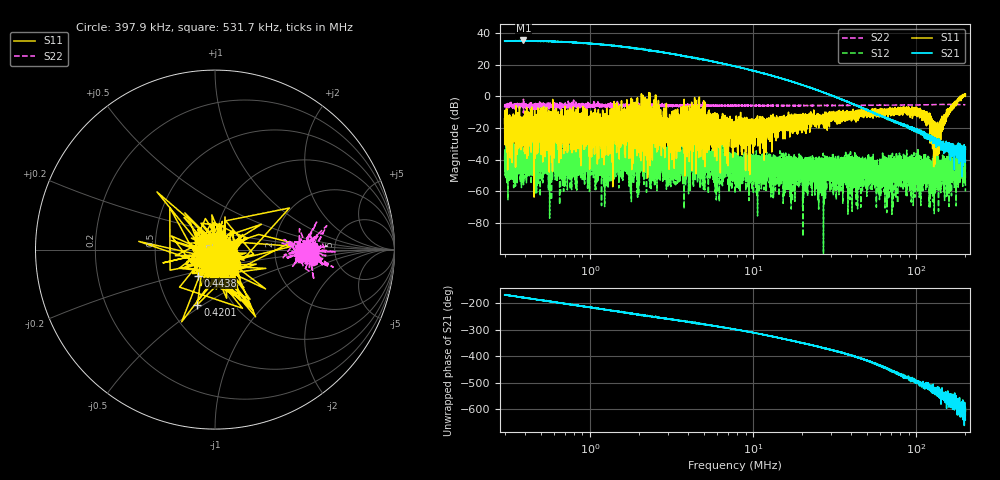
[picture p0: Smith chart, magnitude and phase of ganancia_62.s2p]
# Hz S DB R 50
! CMT, M5065, 19127446, 24.2.4/2
! Date: 11/1/2024 4:52:24 PM
! Data: Format (Calibration Info)
! Freq	S11:dB/Ang(F2)	S21:dB/Ang(F2)	S12:dB/Ang(F2)	S22:dB/Ang(F2)
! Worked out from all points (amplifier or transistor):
!   9000 points, 300 kHz to 200 MHz, reference 50 ohm
!   highest |S21| = 35.3 dB at 391.4 kHz (marker M1)
!   |S21| within 3 dB of that: start of sweep to 1.267 MHz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
!   unconditionally stable (mu >= 1): 5.205 MHz to 186 MHz; 186.2 MHz to 188.8 MHz; 189 MHz to 190.6 MHz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
!   at 886.8 kHz: K = 0.96, MSG = 36.4 dB, |S12| = -39.2 dB
!   at 7.749 MHz: K = 49.45, MAG = 20.2 dB, |S12| = -61.5 dB
!   at 200 MHz: K = -5271.69, MSG = 14.0 dB, |S12| = -60.1 dB
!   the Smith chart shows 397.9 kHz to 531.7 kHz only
!   S11 on the Smith chart (normalised r, x): 397.9 kHz: 1.17, -0.01; 420.1 kHz: 0.69, -0.47; 443.8 kHz: 0.79, -0.24; 531.7 kHz: 0.98, +0.01
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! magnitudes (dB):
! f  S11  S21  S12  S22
! 300 kHz  -17.2  34.9  -41.1  -6.3
! 323.2 kHz  -16.7  34.9  -29.8  -4.1
! 391.4 kHz  -30.7  35.3  -53.8  -1.8
! 397.9 kHz  -21.9  34.9  -33.7  -5.2
! 420.1 kHz  -9.9  35.0  -43.9  -5.8
! 443.8 kHz  -15.2  35.0  -44.8  -5.9
! 531.7 kHz  -38.2  34.8  -37.8  -6.5
! 783.7 kHz  -9.8  33.8  -38.1  -5.3
! 836.4 kHz  -18.8  34.0  -45.7  -6.2
! 886.8 kHz  -22.5  33.7  -39.2  -5.9
! 1.257 MHz  -24.9  32.5  -46.0  -5.6
! 2.621 MHz  -25.6  28.2  -38.0  -6.0
! 5.234 MHz  -20.7  22.7  -42.9  -6.0
! 7.749 MHz  -26.2  18.9  -61.5  -5.8
! 22.91 MHz  -15.6  5.1  -42.7  -5.8
! 67.71 MHz  -10.3  -13.9  -37.4  -5.6
! 108.5 MHz  -15.2  -23.0  -49.8  -5.4
! 119.6 MHz  -12.0  -25.3  -48.3  -5.4
! 134.1 MHz  -22.1  -28.0  -44.7  -5.2
! 158.3 MHz  -10.6  -30.8  -50.7  -5.2
! 193.5 MHz  -0.5  -39.5  -44.2  -5.3
! 200 MHz  1.4  -32.1  -60.1  -5.3
